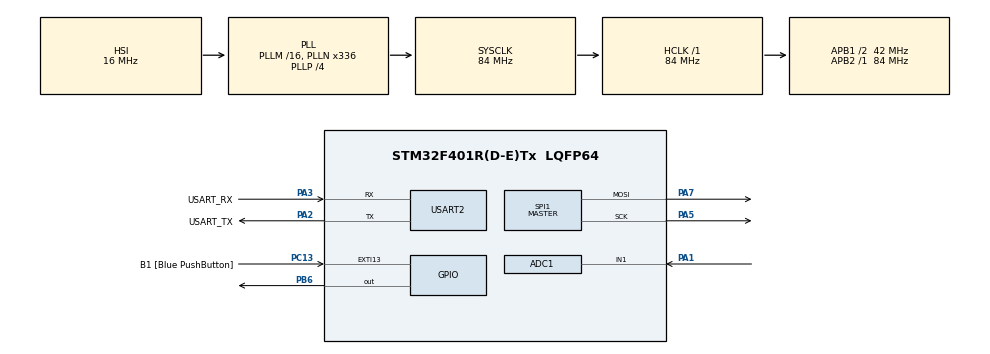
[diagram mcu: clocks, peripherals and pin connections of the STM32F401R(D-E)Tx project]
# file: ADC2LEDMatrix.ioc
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ADC1.Channel-0\#ChannelRegularConversion=ADC_CHANNEL_1
ADC1.DMAContinuousRequests=ENABLE
ADC1.ExternalTrigConv=ADC_EXTERNALTRIGCONV_T3_TRGO
ADC1.NbrOfConversionFlag=1
ADC1.Rank-0\#ChannelRegularConversion=1
ADC1.SamplingTime-0\#ChannelRegularConversion=ADC_SAMPLETIME_480CYCLES
ADC1.master=1
Dma.ADC1.1.Direction=DMA_PERIPH_TO_MEMORY
Dma.ADC1.1.FIFOMode=DMA_FIFOMODE_DISABLE
Dma.ADC1.1.Instance=DMA2_Stream0
Dma.ADC1.1.MemDataAlignment=DMA_MDATAALIGN_HALFWORD
Dma.ADC1.1.MemInc=DMA_MINC_ENABLE
Dma.ADC1.1.Mode=DMA_CIRCULAR
Dma.ADC1.1.PeriphDataAlignment=DMA_PDATAALIGN_HALFWORD
Dma.ADC1.1.PeriphInc=DMA_PINC_DISABLE
Dma.ADC1.1.Priority=DMA_PRIORITY_LOW
Dma.Request0=SPI1_TX
Dma.Request1=ADC1
Dma.SPI1_TX.0.Direction=DMA_MEMORY_TO_PERIPH
Dma.SPI1_TX.0.FIFOMode=DMA_FIFOMODE_DISABLE
Dma.SPI1_TX.0.Instance=DMA2_Stream3
Dma.SPI1_TX.0.MemDataAlignment=DMA_MDATAALIGN_BYTE
Dma.SPI1_TX.0.MemInc=DMA_MINC_ENABLE
Dma.SPI1_TX.0.Mode=DMA_NORMAL
Dma.SPI1_TX.0.PeriphDataAlignment=DMA_PDATAALIGN_BYTE
Dma.SPI1_TX.0.PeriphInc=DMA_PINC_DISABLE
Dma.SPI1_TX.0.Priority=DMA_PRIORITY_LOW
Mcu.Family=STM32F4
Mcu.Name=STM32F401R(D-E)Tx
Mcu.Package=LQFP64
NVIC.DMA2_Stream0_IRQn=true\:0\:0\:false\:false\:true\:false\:true\:true
NVIC.DMA2_Stream3_IRQn=true\:0\:0\:false\:false\:true\:false\:true\:true
NVIC.PriorityGroup=NVIC_PRIORITYGROUP_4
NVIC.SPI1_IRQn=true\:0\:0\:false\:false\:true\:true\:true\:true
NVIC.TIM2_IRQn=true\:0\:0\:false\:false\:true\:true\:true\:true
NVIC.TIM3_IRQn=true\:0\:0\:false\:false\:true\:true\:true\:true
PA1.Signal=ADCx_IN1
PA13.GPIO_Label=TMS
PA13.Mode=Trace_Asynchronous_SW
PA13.Signal=SYS_JTMS-SWDIO
PA14.GPIO_Label=TCK
PA14.Mode=Trace_Asynchronous_SW
PA14.Signal=SYS_JTCK-SWCLK
PA2.GPIO_Label=USART_TX
PA2.GPIO_Mode=GPIO_MODE_AF_PP
PA2.GPIO_PuPd=GPIO_NOPULL
PA2.GPIO_Speed=GPIO_SPEED_FREQ_LOW
PA2.Mode=Asynchronous
PA2.Signal=USART2_TX
PA3.GPIO_Label=USART_RX
PA3.GPIO_Mode=GPIO_MODE_AF_PP
PA3.GPIO_PuPd=GPIO_NOPULL
PA3.GPIO_Speed=GPIO_SPEED_FREQ_LOW
PA3.Mode=Asynchronous
PA3.Signal=USART2_RX
PA5.Mode=TX_Only_Simplex_Unidirect_Master
PA5.Signal=SPI1_SCK
PA7.Mode=TX_Only_Simplex_Unidirect_Master
PA7.Signal=SPI1_MOSI
PB3.GPIO_Label=SWO
PB3.Mode=Trace_Asynchronous_SW
PB3.Signal=SYS_JTDO-SWO
PB6.Signal=GPIO_Output
PC13-ANTI_TAMP.GPIO_Label=B1 [Blue PushButton]
PC13-ANTI_TAMP.GPIO_ModeDefaultEXTI=GPIO_MODE_IT_FALLING
PC13-ANTI_TAMP.GPIO_PuPd=GPIO_NOPULL
PC13-ANTI_TAMP.Signal=GPXTI13
PC14-OSC32_IN.Mode=LSE-External-Oscillator
PC14-OSC32_IN.Signal=RCC_OSC32_IN
PC15-OSC32_OUT.Mode=LSE-External-Oscillator
PC15-OSC32_OUT.Signal=RCC_OSC32_OUT
PH0\ -\ OSC_IN.Mode=HSE-External-Clock-Source
PH0\ -\ OSC_IN.Signal=RCC_OSC_IN
PH1\ -\ OSC_OUT.Mode=HSE-External-Clock-Source
PH1\ -\ OSC_OUT.Signal=RCC_OSC_OUT
ProjectManager.HeapSize=0x200
ProjectManager.StackSize=0x400
ProjectManager.TargetToolchain=STM32CubeIDE
RCC.48MHZClocksFreq_Value=48000000
RCC.AHBFreq_Value=84000000
RCC.APB1CLKDivider=RCC_HCLK_DIV2
RCC.APB1Freq_Value=42000000
RCC.APB1TimFreq_Value=84000000
RCC.APB2Freq_Value=84000000
RCC.APB2TimFreq_Value=84000000
RCC.CortexFreq_Value=84000000
RCC.HCLKFreq_Value=84000000
RCC.HSE_VALUE=8000000
RCC.HSI_VALUE=16000000
RCC.PLLN=336
RCC.PLLP=RCC_PLLP_DIV4
RCC.PLLQ=7
RCC.SYSCLKFreq_VALUE=84000000
RCC.SYSCLKSource=RCC_SYSCLKSOURCE_PLLCLK
RCC.VCOOutputFreq_Value=336000000
SH.ADCx_IN1.0=ADC1_IN1,IN1
SPI1.BaudRatePrescaler=SPI_BAUDRATEPRESCALER_4
SPI1.Direction=SPI_DIRECTION_2LINES
SPI1.Mode=SPI_MODE_MASTER
SPI1.VirtualType=VM_MASTER
TIM2.Period=999
TIM2.Prescaler=83
TIM3.Period=9999
TIM3.Prescaler=8399
TIM3.TIM_MasterOutputTrigger=TIM_TRGO_UPDATE
USART2.VirtualMode=VM_ASYNC
VP_TIM2_VS_ClockSourceINT.Mode=Internal
VP_TIM3_VS_ClockSourceINT.Mode=Internal
board=NUCLEO-F401RE

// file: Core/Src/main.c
/* USER CODE BEGIN Header */
/**
  ******************************************************************************
  * @file           : main.c
  * @brief          : Main program body
  ******************************************************************************
  * @attention
  *
  * Copyright (c) 2025 STMicroelectronics.
  * All rights reserved.
  *
  * This software is licensed under terms that can be found in the LICENSE file
  * in the root directory of this software component.
  * If no LICENSE file comes with this software, it is provided AS-IS.
  *
  ******************************************************************************
  */
/* USER CODE END Header */
#include "main.h"

/* USER CODE BEGIN PD */
#define COL 5
#define SYM 6
/* USER CODE END PD */

ADC_HandleTypeDef hadc1;
DMA_HandleTypeDef hdma_adc1;

SPI_HandleTypeDef hspi1;
DMA_HandleTypeDef hdma_spi1_tx;

TIM_HandleTypeDef htim2;
TIM_HandleTypeDef htim3;

UART_HandleTypeDef huart2;

/* USER CODE BEGIN PV */
const uint8_t columns[COL] = {16, 8, 4, 2, 1};
const uint8_t rows[SYM][COL] = {{0, 0, 0, 0, 0}, {0, 0, 0, 0, 127},{0, 0, 0, 127, 127}, {0, 0, 127, 127, 127},{0, 127, 127, 127, 127},{127, 127, 127, 127, 127}} ; // B9
/* The following writes HELLO, remember to change SYM to 5
const uint8_t rows[SYM][COL] = {
	{127, 8, 8, 8, 127},
	{127, 73, 73, 73, 65},
	{127, 1, 1, 1, 1},
	{127, 1, 1, 1, 1},
	{127, 65, 65, 65, 127}};*/

volatile int current_column = 0;
volatile int current_symbol = 0;
uint16_t adc_dma_buffer[1];
char string[80];

uint8_t tx_buffer[2] = {0};
/* USER CODE END PV */

void SystemClock_Config(void);
static void MX_GPIO_Init(void);
static void MX_DMA_Init(void);
static void MX_USART2_UART_Init(void);
static void MX_SPI1_Init(void);
static void MX_TIM2_Init(void);
static void MX_TIM3_Init(void);
static void MX_ADC1_Init(void);

/* USER CODE BEGIN 0 */
/* USER CODE BEGIN 0 */
void HAL_ADC_ConvCpltCallback(ADC_HandleTypeDef* hadc) {
    int index = (adc_dma_buffer[0] * 6) / 4096;

    if (index > 5) {
        index = 5;
    }

    current_symbol = index;

    HAL_ADC_Start_DMA(&hadc1, (uint32_t*)adc_dma_buffer, 1);
}

void HAL_TIM_PeriodElapsedCallback(TIM_HandleTypeDef *htim) {
    if (htim->Instance == TIM2) {
        tx_buffer[0] = rows[current_symbol][current_column];
        tx_buffer[1] = columns[current_column];
        HAL_SPI_Transmit_DMA(&hspi1, tx_buffer, 2);
    }
}

void HAL_SPI_TxCpltCallback(SPI_HandleTypeDef *hspi){
    if (hspi->Instance == SPI1) {
        HAL_GPIO_WritePin(GPIOB, GPIO_PIN_6, GPIO_PIN_SET);
        HAL_GPIO_WritePin(GPIOB, GPIO_PIN_6, GPIO_PIN_RESET);

        current_column = (current_column + 1) % COL;
    }
}
/* USER CODE END 0 */
/* USER CODE END 0 */

int main(void)
{

  /* MCU Configuration--------------------------------------------------------*/

  /* Reset of all peripherals, Initializes the Flash interface and the Systick. */
  HAL_Init();

  /* Configure the system clock */
  SystemClock_Config();

  /* Initialize all configured peripherals */
  MX_GPIO_Init();
  MX_DMA_Init();
  MX_USART2_UART_Init();
  MX_SPI1_Init();
  MX_TIM2_Init();
  MX_TIM3_Init();
  MX_ADC1_Init();
  /* USER CODE BEGIN 2 */
  HAL_TIM_Base_Start_IT(&htim2);
  HAL_TIM_Base_Start_IT(&htim3);
  HAL_ADC_Start_DMA(&hadc1, (uint32_t*)adc_dma_buffer, 1);

  /* USER CODE END 2 */

  /* Infinite loop */
  while (1)
  {

  }
}

void SystemClock_Config(void)
{
  RCC_OscInitTypeDef RCC_OscInitStruct = {0};
  RCC_ClkInitTypeDef RCC_ClkInitStruct = {0};

  /** Configure the main internal regulator output voltage
  */
  __HAL_RCC_PWR_CLK_ENABLE();
  __HAL_PWR_VOLTAGESCALING_CONFIG(PWR_REGULATOR_VOLTAGE_SCALE2);

  /** Initializes the RCC Oscillators according to the specified parameters
  * in the RCC_OscInitTypeDef structure.
  */
  RCC_OscInitStruct.OscillatorType = RCC_OSCILLATORTYPE_HSI;
  RCC_OscInitStruct.HSIState = RCC_HSI_ON;
  RCC_OscInitStruct.HSICalibrationValue = RCC_HSICALIBRATION_DEFAULT;
  RCC_OscInitStruct.PLL.PLLState = RCC_PLL_ON;
  RCC_OscInitStruct.PLL.PLLSource = RCC_PLLSOURCE_HSI;
  RCC_OscInitStruct.PLL.PLLM = 16;
  RCC_OscInitStruct.PLL.PLLN = 336;
  RCC_OscInitStruct.PLL.PLLP = RCC_PLLP_DIV4;
  RCC_OscInitStruct.PLL.PLLQ = 7;
  if (HAL_RCC_OscConfig(&RCC_OscInitStruct) != HAL_OK)
  {
    Error_Handler();
  }

  /** Initializes the CPU, AHB and APB buses clocks
  */
  RCC_ClkInitStruct.ClockType = RCC_CLOCKTYPE_HCLK|RCC_CLOCKTYPE_SYSCLK
                              |RCC_CLOCKTYPE_PCLK1|RCC_CLOCKTYPE_PCLK2;
  RCC_ClkInitStruct.SYSCLKSource = RCC_SYSCLKSOURCE_PLLCLK;
  RCC_ClkInitStruct.AHBCLKDivider = RCC_SYSCLK_DIV1;
  RCC_ClkInitStruct.APB1CLKDivider = RCC_HCLK_DIV2;
  RCC_ClkInitStruct.APB2CLKDivider = RCC_HCLK_DIV1;

  if (HAL_RCC_ClockConfig(&RCC_ClkInitStruct, FLASH_LATENCY_2) != HAL_OK)
  {
    Error_Handler();
  }
}

static void MX_ADC1_Init(void)
{

  ADC_ChannelConfTypeDef sConfig = {0};

  /** Configure the global features of the ADC (Clock, Resolution, Data Alignment and number of conversion)
  */
  hadc1.Instance = ADC1;
  hadc1.Init.ClockPrescaler = ADC_CLOCK_SYNC_PCLK_DIV4;
  hadc1.Init.Resolution = ADC_RESOLUTION_12B;
  hadc1.Init.ScanConvMode = DISABLE;
  hadc1.Init.ContinuousConvMode = DISABLE;
  hadc1.Init.DiscontinuousConvMode = DISABLE;
  hadc1.Init.ExternalTrigConvEdge = ADC_EXTERNALTRIGCONVEDGE_RISING;
  hadc1.Init.ExternalTrigConv = ADC_EXTERNALTRIGCONV_T3_TRGO;
  hadc1.Init.DataAlign = ADC_DATAALIGN_RIGHT;
  hadc1.Init.NbrOfConversion = 1;
  hadc1.Init.DMAContinuousRequests = ENABLE;
  hadc1.Init.EOCSelection = ADC_EOC_SINGLE_CONV;
  if (HAL_ADC_Init(&hadc1) != HAL_OK)
  {
    Error_Handler();
  }

  /** Configure for the selected ADC regular channel its corresponding rank in the sequencer and its sample time.
  */
  sConfig.Channel = ADC_CHANNEL_1;
  sConfig.Rank = 1;
  sConfig.SamplingTime = ADC_SAMPLETIME_480CYCLES;
  if (HAL_ADC_ConfigChannel(&hadc1, &sConfig) != HAL_OK)
  {
    Error_Handler();
  }

}

static void MX_SPI1_Init(void)
{

  /* SPI1 parameter configuration*/
  hspi1.Instance = SPI1;
  hspi1.Init.Mode = SPI_MODE_MASTER;
  hspi1.Init.Direction = SPI_DIRECTION_2LINES;
  hspi1.Init.DataSize = SPI_DATASIZE_8BIT;
  hspi1.Init.CLKPolarity = SPI_POLARITY_LOW;
  hspi1.Init.CLKPhase = SPI_PHASE_1EDGE;
  hspi1.Init.NSS = SPI_NSS_SOFT;
  hspi1.Init.BaudRatePrescaler = SPI_BAUDRATEPRESCALER_4;
  hspi1.Init.FirstBit = SPI_FIRSTBIT_MSB;
  hspi1.Init.TIMode = SPI_TIMODE_DISABLE;
  hspi1.Init.CRCCalculation = SPI_CRCCALCULATION_DISABLE;
  hspi1.Init.CRCPolynomial = 10;
  if (HAL_SPI_Init(&hspi1) != HAL_OK)
  {
    Error_Handler();
  }

}

static void MX_TIM2_Init(void)
{

  TIM_ClockConfigTypeDef sClockSourceConfig = {0};
  TIM_MasterConfigTypeDef sMasterConfig = {0};

  htim2.Instance = TIM2;
  htim2.Init.Prescaler = 83;
  htim2.Init.CounterMode = TIM_COUNTERMODE_UP;
  htim2.Init.Period = 999;
  htim2.Init.ClockDivision = TIM_CLOCKDIVISION_DIV1;
  htim2.Init.AutoReloadPreload = TIM_AUTORELOAD_PRELOAD_DISABLE;
  if (HAL_TIM_Base_Init(&htim2) != HAL_OK)
  {
    Error_Handler();
  }
  sClockSourceConfig.ClockSource = TIM_CLOCKSOURCE_INTERNAL;
  if (HAL_TIM_ConfigClockSource(&htim2, &sClockSourceConfig) != HAL_OK)
  {
    Error_Handler();
  }
  sMasterConfig.MasterOutputTrigger = TIM_TRGO_RESET;
  sMasterConfig.MasterSlaveMode = TIM_MASTERSLAVEMODE_DISABLE;
  if (HAL_TIMEx_MasterConfigSynchronization(&htim2, &sMasterConfig) != HAL_OK)
  {
    Error_Handler();
  }

}

static void MX_TIM3_Init(void)
{

  TIM_ClockConfigTypeDef sClockSourceConfig = {0};
  TIM_MasterConfigTypeDef sMasterConfig = {0};

  htim3.Instance = TIM3;
  htim3.Init.Prescaler = 8399;
  htim3.Init.CounterMode = TIM_COUNTERMODE_UP;
  htim3.Init.Period = 9999;
  htim3.Init.ClockDivision = TIM_CLOCKDIVISION_DIV1;
  htim3.Init.AutoReloadPreload = TIM_AUTORELOAD_PRELOAD_DISABLE;
  if (HAL_TIM_Base_Init(&htim3) != HAL_OK)
  {
    Error_Handler();
  }
  sClockSourceConfig.ClockSource = TIM_CLOCKSOURCE_INTERNAL;
  if (HAL_TIM_ConfigClockSource(&htim3, &sClockSourceConfig) != HAL_OK)
  {
    Error_Handler();
  }
  sMasterConfig.MasterOutputTrigger = TIM_TRGO_UPDATE;
  sMasterConfig.MasterSlaveMode = TIM_MASTERSLAVEMODE_DISABLE;
  if (HAL_TIMEx_MasterConfigSynchronization(&htim3, &sMasterConfig) != HAL_OK)
  {
    Error_Handler();
  }

}

static void MX_USART2_UART_Init(void)
{

  huart2.Instance = USART2;
  huart2.Init.BaudRate = 115200;
  huart2.Init.WordLength = UART_WORDLENGTH_8B;
  huart2.Init.StopBits = UART_STOPBITS_1;
  huart2.Init.Parity = UART_PARITY_NONE;
  huart2.Init.Mode = UART_MODE_TX_RX;
  huart2.Init.HwFlowCtl = UART_HWCONTROL_NONE;
  huart2.Init.OverSampling = UART_OVERSAMPLING_16;
  if (HAL_UART_Init(&huart2) != HAL_OK)
  {
    Error_Handler();
  }

}

static void MX_DMA_Init(void)
{

  /* DMA controller clock enable */
  __HAL_RCC_DMA2_CLK_ENABLE();

  /* DMA interrupt init */
  /* DMA2_Stream0_IRQn interrupt configuration */
  HAL_NVIC_SetPriority(DMA2_Stream0_IRQn, 0, 0);
  HAL_NVIC_EnableIRQ(DMA2_Stream0_IRQn);
  /* DMA2_Stream3_IRQn interrupt configuration */
  HAL_NVIC_SetPriority(DMA2_Stream3_IRQn, 0, 0);
  HAL_NVIC_EnableIRQ(DMA2_Stream3_IRQn);

}

static void MX_GPIO_Init(void)
{
  GPIO_InitTypeDef GPIO_InitStruct = {0};

  /* GPIO Ports Clock Enable */
  __HAL_RCC_GPIOC_CLK_ENABLE();
  __HAL_RCC_GPIOH_CLK_ENABLE();
  __HAL_RCC_GPIOA_CLK_ENABLE();
  __HAL_RCC_GPIOB_CLK_ENABLE();

  /*Configure GPIO pin Output Level */
  HAL_GPIO_WritePin(GPIOB, GPIO_PIN_6, GPIO_PIN_RESET);

  /*Configure GPIO pin : B1_Pin */
  GPIO_InitStruct.Pin = B1_Pin;
  GPIO_InitStruct.Mode = GPIO_MODE_IT_FALLING;
  GPIO_InitStruct.Pull = GPIO_NOPULL;
  HAL_GPIO_Init(B1_GPIO_Port, &GPIO_InitStruct);

  /*Configure GPIO pin : PB6 */
  GPIO_InitStruct.Pin = GPIO_PIN_6;
  GPIO_InitStruct.Mode = GPIO_MODE_OUTPUT_PP;
  GPIO_InitStruct.Pull = GPIO_NOPULL;
  GPIO_InitStruct.Speed = GPIO_SPEED_FREQ_LOW;
  HAL_GPIO_Init(GPIOB, &GPIO_InitStruct);

}

void Error_Handler(void)
{
  __disable_irq();
  while (1)
  {
  }
}
